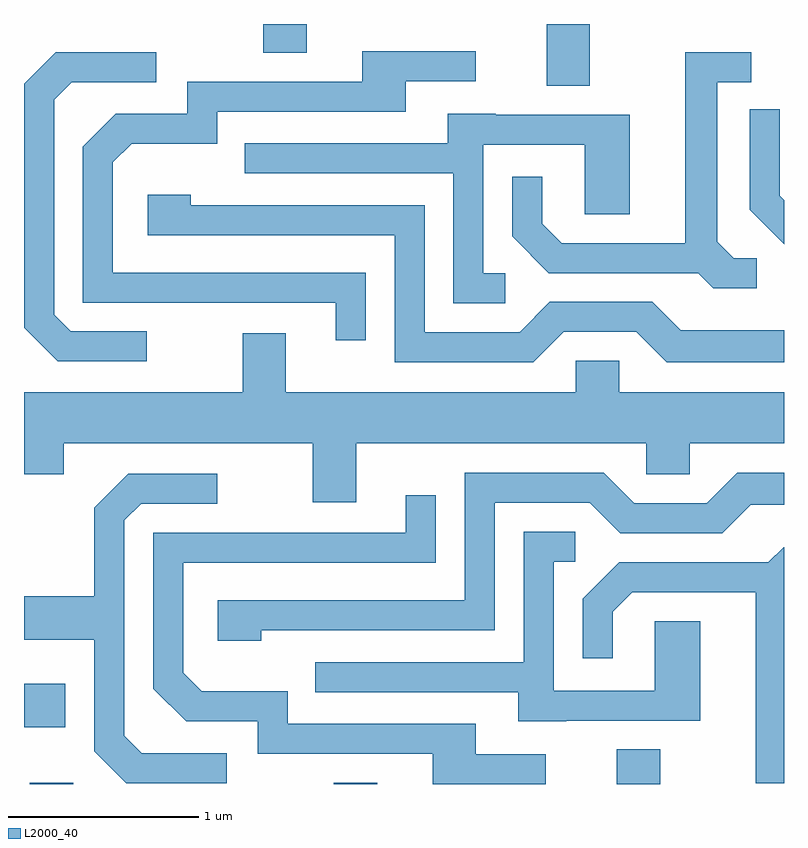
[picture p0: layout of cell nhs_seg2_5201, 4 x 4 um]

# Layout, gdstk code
import gdstk
lib = gdstk.Library(unit=1e-6, precision=1e-09)
def R(c, l, rs):  # rectangles x0, y0, x1, y1
    for r in rs: c.add(gdstk.rectangle(r[:2], r[2:], *l))
def P(c, l, *ps):  # polygons
    for p in ps: c.add(gdstk.Polygon(p, *l))
L2000_40 = (2000, 40)

nhs_seg2_5201 = lib.new_cell('nhs_seg2_5201')
R(nhs_seg2_5201, L2000_40, [(337.641,1099.802,337.869,1099.809), (339.241,1099.802,339.469,1099.809), (340.731,1099.802,340.959,1099.984), (337.611,1100.101,337.829,1100.329), (340.361,1103.476,340.589,1103.802), (338.871,1103.651,339.099,1103.802)])
P(nhs_seg2_5201, L2000_40, [(339.409,1102.494),(338.079,1102.494),(338.079,1103.074),(338.177,1103.171),(338.629,1103.171),(338.629,1103.341),(339.619,1103.341),(339.619,1103.501),(339.988,1103.501),(339.988,1103.659),(339.391,1103.659),(339.391,1103.499),(338.471,1103.499),(338.471,1103.329),(338.094,1103.329),(337.921,1103.157),(337.921,1102.336),(339.251,1102.336),(339.251,1102.138),(339.409,1102.138)],
  [(338.258,1102.184),(337.857,1102.184),(337.769,1102.272),(337.769,1103.404),(337.862,1103.496),(338.308,1103.496),(338.308,1103.654),(337.779,1103.654),(337.611,1103.487),(337.611,1102.204),(337.789,1102.026),(338.258,1102.026)],
  [(341.468,1102.569),(341.347,1102.569),(341.259,1102.657),(341.259,1103.496),(341.438,1103.496),(341.438,1103.654),(341.091,1103.654),(341.091,1102.649),(340.442,1102.649),(340.339,1102.752),(340.339,1102.998),(340.181,1102.998),(340.181,1102.684),(340.374,1102.491),(341.159,1102.491),(341.239,1102.411),(341.468,1102.411)],
  [(341.611,1102.875),(341.589,1102.897),(341.589,1103.353),(341.431,1103.353),(341.431,1102.824),(341.611,1102.644)],
  [(340.143,1102.489),(340.029,1102.489),(340.029,1103.166),(340.561,1103.166),(340.561,1102.801),(340.799,1102.801),(340.799,1103.324),(340.095,1103.324),(340.095,1103.329),(339.841,1103.329),(339.841,1103.174),(338.773,1103.174),(338.773,1103.016),(339.871,1103.016),(339.871,1102.331),(340.143,1102.331)],
  [(340.452,1102.181),(340.834,1102.181),(340.994,1102.021),(341.611,1102.021),(341.611,1102.189),(341.067,1102.189),(340.917,1102.339),(340.379,1102.339),(340.219,1102.179),(339.719,1102.179),(339.719,1102.849),(338.489,1102.849),(338.489,1102.904),(338.261,1102.904),(338.261,1102.691),(339.561,1102.691),(339.561,1102.021),(340.292,1102.021)],
  [(339.359,1101.596),(340.886,1101.596),(340.886,1101.431),(341.114,1101.431),(341.114,1101.596),(341.611,1101.596),(341.611,1101.864),(340.744,1101.864),(340.744,1102.029),(340.516,1102.029),(340.516,1101.864),(338.989,1101.864),(338.989,1102.174),(338.761,1102.174),(338.761,1101.864),(337.611,1101.864),(337.611,1101.431),(337.819,1101.431),(337.819,1101.596),(339.131,1101.596),(339.131,1101.286),(339.359,1101.286)],
  [(338.859,1100.611),(340.089,1100.611),(340.089,1101.281),(340.589,1101.281),(340.749,1101.121),(341.287,1101.121),(341.437,1101.271),(341.611,1101.271),(341.611,1101.439),(341.364,1101.439),(341.204,1101.279),(340.822,1101.279),(340.662,1101.439),(339.931,1101.439),(339.931,1100.769),(338.631,1100.769),(338.631,1100.556),(338.859,1100.556)],
  [(338.678,1099.964),(338.232,1099.964),(338.139,1100.057),(338.139,1101.189),(338.227,1101.276),(338.628,1101.276),(338.628,1101.434),(338.159,1101.434),(337.981,1101.257),(337.981,1100.789),(337.611,1100.789),(337.611,1100.561),(337.981,1100.561),(337.981,1099.974),(338.149,1099.806),(338.678,1099.806)],
  [(340.358,1099.959),(339.989,1099.959),(339.989,1100.119),(338.999,1100.119),(338.999,1100.289),(338.547,1100.289),(338.449,1100.387),(338.449,1100.966),(339.779,1100.966),(339.779,1101.323),(339.621,1101.323),(339.621,1101.124),(338.291,1101.124),(338.291,1100.304),(338.464,1100.131),(338.841,1100.131),(338.841,1099.961),(339.761,1099.961),(339.761,1099.802),(340.358,1099.802)],
  [(340.465,1100.136),(341.169,1100.136),(341.169,1100.659),(340.931,1100.659),(340.931,1100.294),(340.399,1100.294),(340.399,1100.971),(340.513,1100.971),(340.513,1101.129),(340.241,1101.129),(340.241,1100.444),(339.143,1100.444),(339.143,1100.286),(340.211,1100.286),(340.211,1100.131),(340.465,1100.131)],
  [(341.611,1101.049),(341.609,1101.049),(341.529,1100.969),(340.744,1100.969),(340.551,1100.777),(340.551,1100.463),(340.709,1100.463),(340.709,1100.709),(340.812,1100.811),(341.461,1100.811),(341.461,1099.806),(341.611,1099.806)])

lib.write_gds('nhs_seg2_5201.gds')
